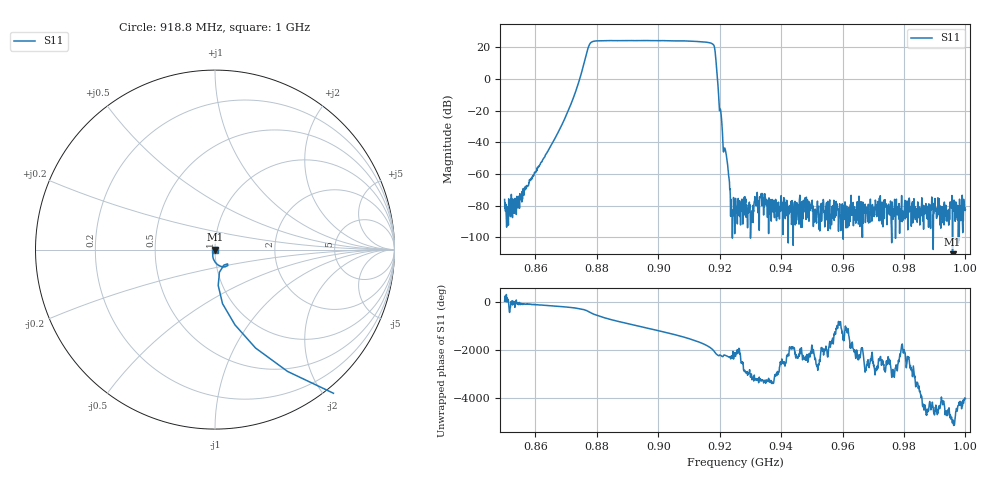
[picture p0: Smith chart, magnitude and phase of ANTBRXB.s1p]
#  HZ  S  DB  R  50.0
! Rohde & Schwarz ZVL
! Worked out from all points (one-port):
!   1577 points, 850 MHz to 1 GHz, reference 50 ohm
!   lowest |S11| = -117.4 dB at 995.8 MHz (marker M1), VSWR 1.00, Z = 50 + j1.99e-07 ohm
!   |S11| at or under -10 dB: start of sweep to 872.7 MHz; 919.7 MHz to end of sweep
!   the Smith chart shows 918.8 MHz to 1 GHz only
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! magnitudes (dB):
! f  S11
! 850 MHz  -76.1
! 851.2 MHz  -92.3
! 854.8 MHz  -76.2
! 868.8 MHz  -28.5
! 873 MHz  -8.4
! 876.9 MHz  18.1
! 877.9 MHz  22.6
! 887.5 MHz  24.3
! 906.2 MHz  24.1
! 915.8 MHz  23.3
! 918 MHz  21.7
! 918.4 MHz  18.8
! 918.8 MHz  11.5
! 919.6 MHz  -7.3
! 921.1 MHz  -41.9
! 922.5 MHz  -53.2
! 923.6 MHz  -86.7
! 924.2 MHz  -86.6
! 925 MHz  -83.1
! 927.9 MHz  -76.3
! 930.4 MHz  -90.2
! 933.7 MHz  -77.2
! 937.4 MHz  -80.2
! 943.8 MHz  -77.9
! 962.5 MHz  -80.4
! 981.2 MHz  -95.3
! 995.8 MHz  -117.4
! 1 GHz  -82.5
